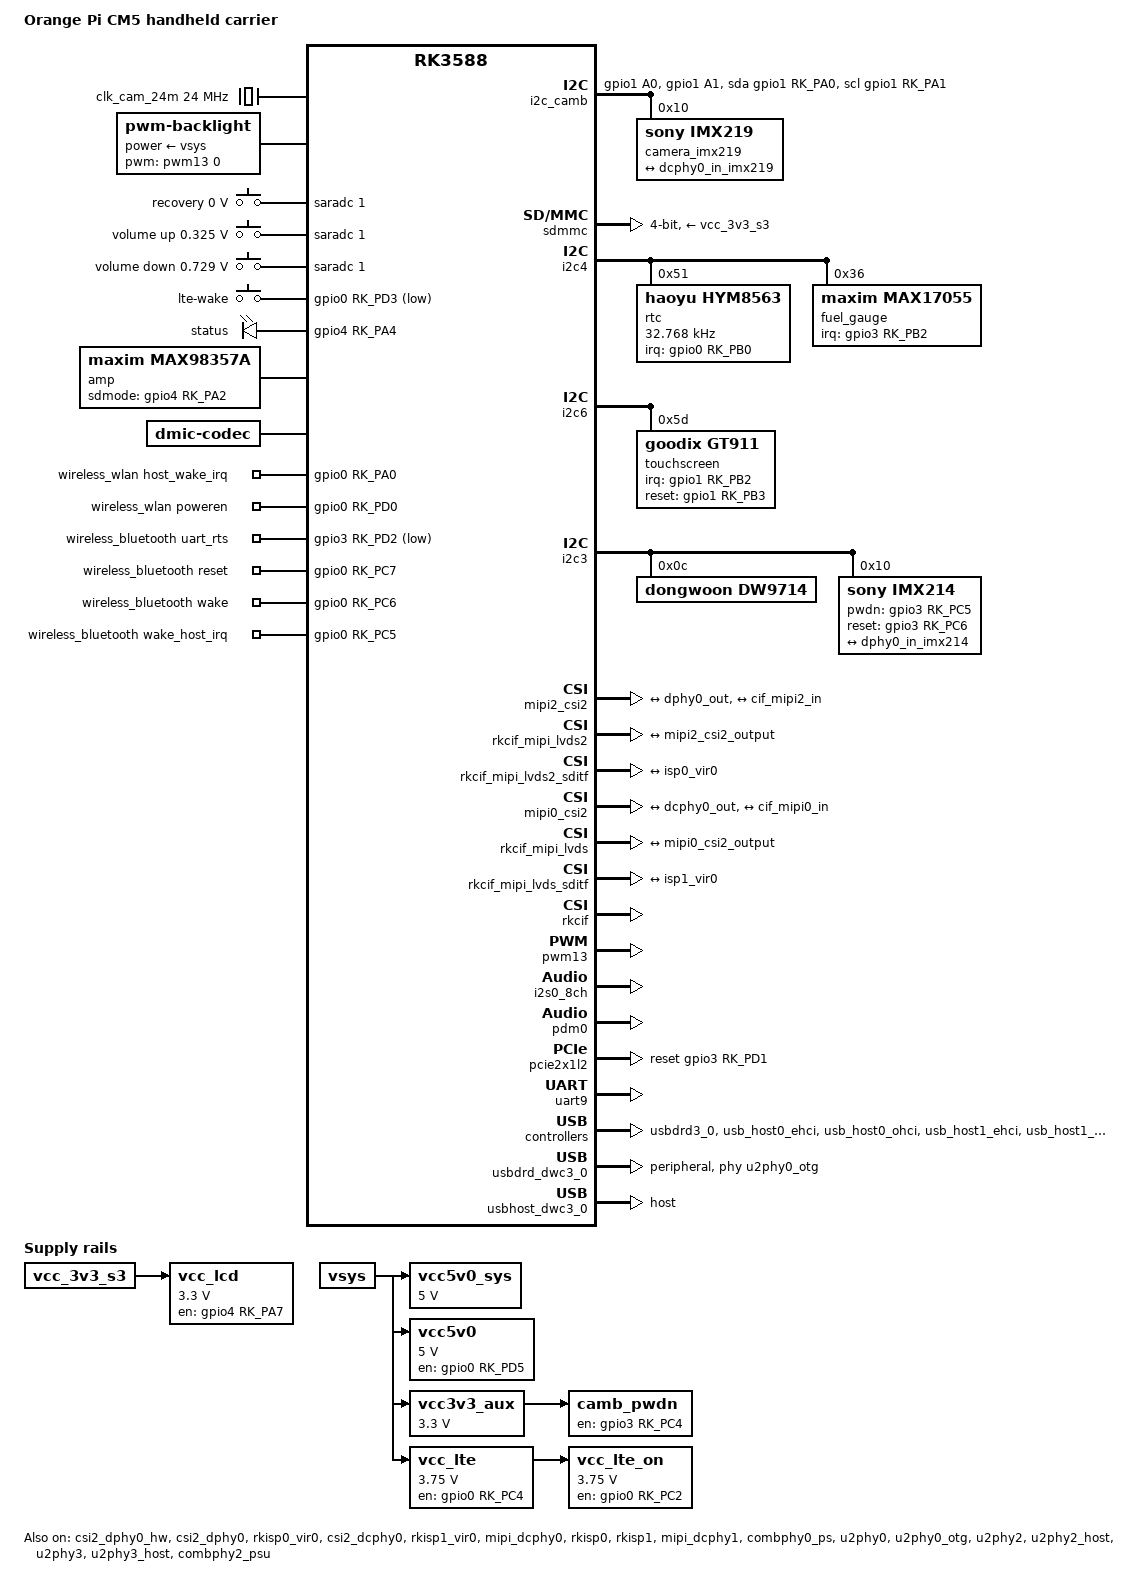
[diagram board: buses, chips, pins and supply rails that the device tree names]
// SPDX-License-Identifier: (GPL-2.0+ OR MIT)
/*
 * Orange Pi CM5 on the CM5 handheld carrier (Board A), for Orange Pi's Linux 6.1 kernel
 * (orangepi-xunlong/linux-orangepi, branch orange-pi-6.1-rk35xx).
 *
 * Pins: docs/opi/opi_cm5_pin_map.csv. Templates: Orange Pi's rk3588s-orangepi-cm5(-tablet).dts and
 * rk3588s-orangepi-5.dtsi (AP6275P on pcie2x1l2 with the same GPIOs), Radxa's camera overlays for the
 * Camera 13M 214 and 8M 219, Rockchip's rk3588-evb.dtsi (DSI panel node). Items marked UNVERIFIED and the
 * kernel options this board needs: software/README.md.
 */

/dts-v1/;

#include <dt-bindings/gpio/gpio.h>
#include <dt-bindings/pwm/pwm.h>
#include <dt-bindings/pinctrl/rockchip.h>
#include <dt-bindings/input/rk-input.h>
#include <dt-bindings/display/drm_mipi_dsi.h>
#include <dt-bindings/display/rockchip_vop.h>
#include <dt-bindings/clock/rk3588-cru.h>
#include <dt-bindings/power/rk3588-power.h>

#include "rk3588s.dtsi"
#include "rk3588-rk806-single.dtsi"
#include "rk3588-linux.dtsi"
#include "rk3588s-orangepi-cm5-module.dtsi"

/ {
	model = "Orange Pi CM5 handheld carrier";
	compatible = "rockchip,rk3588s-orangepi-cm5-handheld", "rockchip,rk3588";

	/* ---------------------------------------------------------------- supplies */

	/* battery / charger output (BQ25713 NVDC, 3.0-4.5 V) */
	vsys: vsys {
		compatible = "regulator-fixed";
		regulator-name = "vsys";
		regulator-always-on;
		regulator-boot-on;
	};

	/* CM5_VIN: TPS61088 boost, 5.03 V, always on while VSYS exists (module VBUS, JP1.77-87) */
	vcc5v0_sys: vcc5v0-sys {
		compatible = "regulator-fixed";
		regulator-name = "vcc5v0_sys";
		regulator-always-on;
		regulator-boot-on;
		regulator-min-microvolt = <5000000>;
		regulator-max-microvolt = <5000000>;
		vin-supply = <&vsys>;
	};

	/* VCC5V0: TPS61089 boost for USB-A, keyboard, CAM-A 5 V; EN_5V = GPIO0_D5 (also pulled up on the board) */
	vcc5v0: vcc5v0 {
		compatible = "regulator-fixed";
		regulator-name = "vcc5v0";
		regulator-always-on;
		regulator-boot-on;
		regulator-min-microvolt = <5000000>;
		regulator-max-microvolt = <5000000>;
		enable-active-high;
		gpio = <&gpio0 RK_PD5 GPIO_ACTIVE_HIGH>;
		pinctrl-names = "default";
		pinctrl-0 = <&en_5v>;
		vin-supply = <&vsys>;
	};

	/* VCC3V3_AUX: TPS63020, enabled by the module's VCC_3V3_S3 in hardware (Wi-Fi VBAT, USB hub, cameras) */
	vcc3v3_aux: vcc3v3-aux {
		compatible = "regulator-fixed";
		regulator-name = "vcc3v3_aux";
		regulator-always-on;
		regulator-boot-on;
		regulator-min-microvolt = <3300000>;
		regulator-max-microvolt = <3300000>;
		vin-supply = <&vsys>;
	};

	/*
	 * LTE modem: VCC_LTE (TPS63020, 3.75 V, EN = LTE_PWR_EN GPIO0_C4), then FULL_CARD_POWER_OFF# (GPIO0_C2,
	 * high = modem on) once VCC_LTE is up. Turning "vcc_lte_on" off powers the modem down in that order.
	 */
	vcc_lte: vcc-lte {
		compatible = "regulator-fixed";
		regulator-name = "vcc_lte";
		regulator-min-microvolt = <3750000>;
		regulator-max-microvolt = <3750000>;
		enable-active-high;
		gpio = <&gpio0 RK_PC4 GPIO_ACTIVE_HIGH>;
		startup-delay-us = <50000>;
		pinctrl-names = "default";
		pinctrl-0 = <&lte_pwr_en>;
		vin-supply = <&vsys>;
	};

	vcc_lte_on: vcc-lte-on {
		compatible = "regulator-fixed";
		regulator-name = "vcc_lte_on";
		regulator-always-on;
		regulator-boot-on;
		regulator-min-microvolt = <3750000>;
		regulator-max-microvolt = <3750000>;
		enable-active-high;
		gpio = <&gpio0 RK_PC2 GPIO_ACTIVE_HIGH>;
		pinctrl-names = "default";
		pinctrl-0 = <&lte_fcpo>;
		vin-supply = <&vcc_lte>;
	};

	/* panel VCI 3.3 V: TPS22919 load switch, ON = LCD_PWREN GPIO4_A7 */
	vcc_lcd: vcc-lcd {
		compatible = "regulator-fixed";
		regulator-name = "vcc_lcd";
		regulator-min-microvolt = <3300000>;
		regulator-max-microvolt = <3300000>;
		enable-active-high;
		gpio = <&gpio4 RK_PA7 GPIO_ACTIVE_HIGH>;
		pinctrl-names = "default";
		pinctrl-0 = <&lcd_pwren>;
		vin-supply = <&vcc_3v3_s3>;
	};

	/* CAM-B (Radxa Camera 8M 219) enable on its CAM_IO0 line (GPIO3_C4), held high as Radxa's overlay does */
	camb_pwdn: camb-pwdn {
		compatible = "regulator-fixed";
		regulator-name = "camb_pwdn";
		regulator-always-on;
		regulator-boot-on;
		enable-active-high;
		gpio = <&gpio3 RK_PC4 GPIO_ACTIVE_HIGH>;
		pinctrl-names = "default";
		pinctrl-0 = <&camb_io0>;
		vin-supply = <&vcc3v3_aux>;
	};

	/* the 8M 219 module runs from its own 24 MHz oscillator (Radxa overlay radxa-cm5-io-radxa-camera-8m) */
	clk_cam_24m: external-camera-clock-24m {
		compatible = "fixed-clock";
		clock-frequency = <24000000>;
		clock-output-names = "clk_cam_24m";
		#clock-cells = <0>;
	};

	/* ---------------------------------------------------------------- user interface */

	/* panel backlight: TPS61169 CTRL on PWM13_M1 (GPIO4_B6), 25 kHz (TPS61169: 5-100 kHz) */
	backlight: backlight {
		compatible = "pwm-backlight";
		pwms = <&pwm13 0 40000 0>;
		power-supply = <&vsys>;
		brightness-levels = <0 255>;
		num-interpolated-steps = <255>;
		default-brightness-level = <180>;
	};

	/* SARADC_IN1 (JP1.68), 10k pull-up to 1.8 V on the module: Recovery 0 V, Vol+ 0.32 V (2.2k), Vol- 0.73 V (6.8k) */
	adc_keys: adc-keys {
		compatible = "adc-keys";
		io-channels = <&saradc 1>;
		io-channel-names = "buttons";
		keyup-threshold-microvolt = <1800000>;
		poll-interval = <100>;

		recovery-key {
			label = "recovery";
			linux,code = <KEY_PROG1>;
			press-threshold-microvolt = <0>;
		};

		vol-up-key {
			label = "volume up";
			linux,code = <KEY_VOLUMEUP>;
			press-threshold-microvolt = <325000>;
		};

		vol-down-key {
			label = "volume down";
			linux,code = <KEY_VOLUMEDOWN>;
			press-threshold-microvolt = <729000>;
		};
	};

	/* LTE modem WAKE_ON_WAN# (open drain, 10k to 1.8 V) on GPIO0_D3: wakes the system on SMS / call */
	gpio_keys: gpio-keys {
		compatible = "gpio-keys";
		pinctrl-names = "default";
		pinctrl-0 = <&lte_wake>;

		lte-wake {
			label = "lte-wake";
			gpios = <&gpio0 RK_PD3 GPIO_ACTIVE_LOW>;
			linux,code = <KEY_WAKEUP>;
			debounce-interval = <10>;
			wakeup-source;
		};
	};

	leds: gpio-leds {
		compatible = "gpio-leds";
		pinctrl-names = "default";
		pinctrl-0 = <&led_status>;

		status-led {
			label = "status";
			gpios = <&gpio4 RK_PA4 GPIO_ACTIVE_HIGH>;
			linux,default-trigger = "heartbeat";
		};
	};

	/* ---------------------------------------------------------------- audio */

	/* 2 x MAX98357A on I2S0: one stream, the left amplifier takes the left channel and the right one the right
	 * (resistors on SD_MODE); one GPIO (AMP_SD_MODE, GPIO4_A2) shuts both down */
	amp: max98357a {
		compatible = "maxim,max98357a";
		#sound-dai-cells = <0>;
		sdmode-gpios = <&gpio4 RK_PA2 GPIO_ACTIVE_HIGH>;
		pinctrl-names = "default";
		pinctrl-0 = <&amp_sd_mode>;
	};

	speaker_sound: speaker-sound {
		compatible = "simple-audio-card";
		simple-audio-card,name = "speakers";
		simple-audio-card,format = "i2s";
		simple-audio-card,mclk-fs = <256>;

		simple-audio-card,cpu {
			sound-dai = <&i2s0_8ch>;
		};

		simple-audio-card,codec {
			sound-dai = <&amp>;
		};
	};

	/* Knowles SPH0641LU4H-1 PDM microphone on PDM0_M0 (CLK0 GPIO1_C6, SDI0 GPIO1_D5), SEL low */
	dmic: dmic {
		compatible = "dmic-codec";
		#sound-dai-cells = <0>;
		num-channels = <1>;
	};

	mic_sound: mic-sound {
		compatible = "simple-audio-card";
		simple-audio-card,name = "microphone";
		simple-audio-card,format = "pdm";
		simple-audio-card,mclk-fs = <256>;

		simple-audio-card,cpu {
			sound-dai = <&pdm0>;
		};

		simple-audio-card,codec {
			sound-dai = <&dmic>;
		};
	};

	/* ---------------------------------------------------------------- Wi-Fi / Bluetooth (AMPAK AP6275P) */

	/* as Orange Pi 5 (rk3588s-orangepi-5.dtsi) and the CM5 tablet: same GPIOs, UART9_M2, pcie2x1l2 */
	wireless_wlan: wireless-wlan {
		compatible = "wlan-platdata";
		wifi_chip_type = "ap6275p";
		pinctrl-names = "default";
		pinctrl-0 = <&wifi_host_wake_irq>, <&wifi_poweren_gpio>;
		WIFI,host_wake_irq = <&gpio0 RK_PA0 GPIO_ACTIVE_HIGH>;
		WIFI,poweren_gpio = <&gpio0 RK_PD0 GPIO_ACTIVE_HIGH>;
		status = "okay";
	};

	wireless_bluetooth: wireless-bluetooth {
		compatible = "bluetooth-platdata";
		clocks = <&rtc>;
		clock-names = "ext_clock";
		uart_rts_gpios = <&gpio3 RK_PD2 GPIO_ACTIVE_LOW>;
		pinctrl-names = "default", "rts_gpio";
		pinctrl-0 = <&uart9m2_rtsn>, <&bt_reset_gpio>, <&bt_wake_gpio>, <&bt_irq_gpio>;
		pinctrl-1 = <&uart9_gpios>;
		BT,reset_gpio    = <&gpio0 RK_PC7 GPIO_ACTIVE_HIGH>;
		BT,wake_gpio     = <&gpio0 RK_PC6 GPIO_ACTIVE_HIGH>;
		BT,wake_host_irq = <&gpio0 RK_PC5 GPIO_ACTIVE_HIGH>;
		status = "okay";
	};

	/* ---------------------------------------------------------------- CAM-B I2C */

	/*
	 * CAM-B's I2C runs on GPIO1_A0 (SDA, JP2.2) / GPIO1_A1 (SCL, JP2.4): their only I2C function is I2C2_M4,
	 * and I2C2 serves the module's NPU regulator (i2c2m0, below), so this bus is bit-banged. 2.2k pull-ups
	 * to 3.3 V on the board.
	 */
	i2c_camb: i2c-camb {
		compatible = "i2c-gpio";
		sda-gpios = <&gpio1 RK_PA0 (GPIO_ACTIVE_HIGH | GPIO_OPEN_DRAIN)>;
		scl-gpios = <&gpio1 RK_PA1 (GPIO_ACTIVE_HIGH | GPIO_OPEN_DRAIN)>;
		i2c-gpio,delay-us = <5>;	/* ~100 kHz */
		pinctrl-names = "default";
		pinctrl-0 = <&i2c_camb_pins>;
		#address-cells = <1>;
		#size-cells = <0>;

		camera_imx219: camera-imx219@10 {
			compatible = "sony,imx219";
			reg = <0x10>;
			clocks = <&clk_cam_24m>;
			clock-names = "xvclk";
			rockchip,camera-module-index = <1>;
			rockchip,camera-module-facing = "front";
			rockchip,camera-module-name = "RADXA-CAMERA-8M";
			rockchip,camera-module-lens-name = "default";

			port {
				imx219_out: endpoint {
					remote-endpoint = <&dcphy0_in_imx219>;
					data-lanes = <1 2>;
				};
			};
		};
	};
};

/* ------------------------------------------------------------------------------------------------------------ */
/* PMIC sleep pins: GPIO0_C2 (pmic_sleep4) is the modem's FULL_CARD_POWER_OFF# on this board, as Orange Pi frees  */
/* it on the CM5 tablet                                                                                         */

&pmic_pins {
	rockchip,pins =
		/* pmic_int_l */
		<0 RK_PA7 0 &pcfg_pull_up>,
		/* pmic_sleep1 */
		<0 RK_PA2 1 &pcfg_pull_down>,
		/* pmic_sleep2 */
		<0 RK_PA3 1 &pcfg_pull_none>,
		/* pmic_sleep3 */
		<0 RK_PC1 1 &pcfg_pull_none>,
		/* pmic_sleep5 */
		<0 RK_PC3 1 &pcfg_pull_none>,
		/* pmic_sleep6 */
		<0 RK_PD6 1 &pcfg_pull_none>;
};

/* ------------------------------------------------------------------------------------------------------------ */
/* microSD (SDMMC, JP1.57-69), detect on GPIO0_A4 (SDMMC_DET); VDD from VCC_3V3_S3 through the 0 ohm link        */

&sdmmc {
	max-frequency = <150000000>;
	no-sdio;
	no-mmc;
	bus-width = <4>;
	cap-mmc-highspeed;
	cap-sd-highspeed;
	disable-wp;
	sd-uhs-sdr104;
	vmmc-supply = <&vcc_3v3_s3>;
	vqmmc-supply = <&vccio_sd_s0>;
	status = "okay";
};

/* ------------------------------------------------------------------------------------------------------------ */
/* System I2C: I2C4_M3 (GPIO1_A2 SDA / A3 SCL, 3.3 V)                                                            */

&i2c4 {
	status = "okay";
	pinctrl-names = "default";
	pinctrl-0 = <&i2c4m3_xfer>;

	/*
	 * BM8563 RTC: a PCF8563 clone like the HYM8563 (same register map), run with Orange Pi's HYM8563 driver;
	 * CLKOUT (32.768 kHz) is the Wi-Fi / BT sleep clock and also reaches the SoC's CLK32K_IN (JP3.96)
	 */
	rtc: rtc@51 {
		compatible = "haoyu,hym8563";
		reg = <0x51>;
		#clock-cells = <0>;
		clock-frequency = <32768>;
		clock-output-names = "hym8563";
		pinctrl-names = "default";
		pinctrl-0 = <&rtc_int>;
		interrupt-parent = <&gpio0>;
		interrupts = <RK_PB0 IRQ_TYPE_LEVEL_LOW>;
		wakeup-source;
	};

	/* MAX17055 fuel gauge, 4 mOhm sense resistor (R126); I2C address UNVERIFIED (0x36: Linux binding example) */
	fuel_gauge: fuel-gauge@36 {
		compatible = "maxim,max17055";
		reg = <0x36>;
		maxim,rsns-microohm = <4000>;
		pinctrl-names = "default";
		pinctrl-0 = <&fg_alrt>;
		interrupt-parent = <&gpio3>;
		interrupts = <RK_PB2 IRQ_TYPE_LEVEL_LOW>;
	};

	/* TPS25751 USB-C PD controller at 0x20: no driver for it in this kernel; it runs from its EEPROM */
};

/* ------------------------------------------------------------------------------------------------------------ */
/* Touch (GT911 on the panel tail) and keyboard (RP2040, i2c_puppet 0x1F): I2C6_M3 (GPIO4_B0 SDA / B1 SCL, 3.3 V) */

&i2c6 {
	status = "okay";
	pinctrl-names = "default";
	pinctrl-0 = <&i2c6m3_xfer>;

	touchscreen: touchscreen@5d {
		compatible = "goodix,gt911";
		reg = <0x5d>;
		interrupt-parent = <&gpio1>;
		interrupts = <RK_PB2 IRQ_TYPE_EDGE_FALLING>;
		irq-gpios = <&gpio1 RK_PB2 GPIO_ACTIVE_HIGH>;
		reset-gpios = <&gpio1 RK_PB3 GPIO_ACTIVE_HIGH>;
		pinctrl-names = "default";
		pinctrl-0 = <&tp_pins>;
		touchscreen-size-x = <720>;
		touchscreen-size-y = <720>;
	};

	/* the keyboard also enumerates as a USB HID keyboard on hub port 3; its I2C interface needs an out-of-tree
	 * driver (i2c_puppet / bbq10kbd) and is not described here */
};

/* ------------------------------------------------------------------------------------------------------------ */
/* CAM-A (rear, Radxa Camera 13M 214, 4 lanes) on MIPI_CSI0 = csi2_dphy0 in full mode; I2C3_M1 (GPIO3_B7 SCL /    */
/* C0 SDA, 1.8 V), MCLK = MIPI_CAMERA1_CLK_M1 (GPIO3_A6), PDN GPIO3_C5, RESET GPIO3_C6                            */

&i2c3 {
	status = "okay";
	pinctrl-names = "default";
	pinctrl-0 = <&i2c3m1_xfer>;

	dw9714: dw9714@c {
		compatible = "dongwoon,dw9714";
		reg = <0x0c>;
		rockchip,vcm-start-current = <10>;
		rockchip,vcm-rated-current = <85>;
		rockchip,vcm-step-mode = <3>;
		rockchip,camera-module-index = <0>;
		rockchip,camera-module-facing = "back";
	};

	imx214: imx214@10 {
		compatible = "sony,imx214";
		reg = <0x10>;
		clocks = <&cru CLK_MIPI_CAMARAOUT_M1>;
		clock-names = "xvclk";
		pinctrl-names = "default";
		pinctrl-0 = <&mipim1_camera1_clk>, <&cama_pins>;
		power-domains = <&power RK3588_PD_VI>;
		pwdn-gpios = <&gpio3 RK_PC5 GPIO_ACTIVE_HIGH>;
		reset-gpios = <&gpio3 RK_PC6 GPIO_ACTIVE_HIGH>;
		rockchip,camera-module-index = <0>;
		rockchip,camera-module-facing = "back";
		rockchip,camera-module-name = "RADXA-CAMERA-13M";
		rockchip,camera-module-lens-name = "DEFAULT";
		lens-focus = <&dw9714>;

		port {
			imx214_out: endpoint {
				remote-endpoint = <&dphy0_in_imx214>;
				data-lanes = <1 2 3 4>;
			};
		};
	};
};

&csi2_dphy0_hw {
	status = "okay";
};

&csi2_dphy0 {
	status = "okay";

	ports {
		#address-cells = <1>;
		#size-cells = <0>;

		port@0 {
			reg = <0>;
			#address-cells = <1>;
			#size-cells = <0>;

			dphy0_in_imx214: endpoint@1 {
				reg = <1>;
				remote-endpoint = <&imx214_out>;
				data-lanes = <1 2 3 4>;
			};
		};

		port@1 {
			reg = <1>;
			#address-cells = <1>;
			#size-cells = <0>;

			dphy0_out: endpoint@0 {
				reg = <0>;
				remote-endpoint = <&mipi2_csi2_input>;
			};
		};
	};
};

&mipi2_csi2 {
	status = "okay";

	ports {
		#address-cells = <1>;
		#size-cells = <0>;

		port@0 {
			reg = <0>;
			#address-cells = <1>;
			#size-cells = <0>;

			mipi2_csi2_input: endpoint@1 {
				reg = <1>;
				remote-endpoint = <&dphy0_out>;
			};
		};

		port@1 {
			reg = <1>;
			#address-cells = <1>;
			#size-cells = <0>;

			mipi2_csi2_output: endpoint@0 {
				reg = <0>;
				remote-endpoint = <&cif_mipi2_in>;
			};
		};
	};
};

&rkcif_mipi_lvds2 {
	status = "okay";

	port {
		cif_mipi2_in: endpoint {
			remote-endpoint = <&mipi2_csi2_output>;
		};
	};
};

&rkcif_mipi_lvds2_sditf {
	status = "okay";

	port {
		mipi_lvds2_sditf: endpoint {
			remote-endpoint = <&isp0_vir0>;
		};
	};
};

&rkisp0_vir0 {
	status = "okay";

	port {
		#address-cells = <1>;
		#size-cells = <0>;

		isp0_vir0: endpoint@0 {
			reg = <0>;
			remote-endpoint = <&mipi_lvds2_sditf>;
		};
	};
};

/* ------------------------------------------------------------------------------------------------------------ */
/* CAM-B (front, Radxa Camera 8M 219, 2 lanes) on MIPI_DPHY0_RX = csi2_dcphy0 (D-PHY mode); I2C on i2c_camb above  */

&csi2_dcphy0 {
	status = "okay";

	ports {
		#address-cells = <1>;
		#size-cells = <0>;

		port@0 {
			reg = <0>;
			#address-cells = <1>;
			#size-cells = <0>;

			dcphy0_in_imx219: endpoint@1 {
				reg = <1>;
				remote-endpoint = <&imx219_out>;
				data-lanes = <1 2>;
			};
		};

		port@1 {
			reg = <1>;
			#address-cells = <1>;
			#size-cells = <0>;

			dcphy0_out: endpoint@0 {
				reg = <0>;
				remote-endpoint = <&mipi0_csi2_input>;
			};
		};
	};
};

&mipi0_csi2 {
	status = "okay";

	ports {
		#address-cells = <1>;
		#size-cells = <0>;

		port@0 {
			reg = <0>;
			#address-cells = <1>;
			#size-cells = <0>;

			mipi0_csi2_input: endpoint@1 {
				reg = <1>;
				remote-endpoint = <&dcphy0_out>;
			};
		};

		port@1 {
			reg = <1>;
			#address-cells = <1>;
			#size-cells = <0>;

			mipi0_csi2_output: endpoint@0 {
				reg = <0>;
				remote-endpoint = <&cif_mipi0_in>;
			};
		};
	};
};

&rkcif_mipi_lvds {
	status = "okay";

	port {
		cif_mipi0_in: endpoint {
			remote-endpoint = <&mipi0_csi2_output>;
		};
	};
};

&rkcif_mipi_lvds_sditf {
	status = "okay";

	port {
		mipi_lvds_sditf: endpoint {
			remote-endpoint = <&isp1_vir0>;
		};
	};
};

&rkisp1_vir0 {
	status = "okay";

	port {
		#address-cells = <1>;
		#size-cells = <0>;

		isp1_vir0: endpoint@0 {
			reg = <0>;
			remote-endpoint = <&mipi_lvds_sditf>;
		};
	};
};

&mipi_dcphy0 {
	status = "okay";
};

&rkcif {
	status = "okay";
};

&rkcif_mmu {
	status = "okay";
};

&rkisp0 {
	status = "okay";
};

&isp0_mmu {
	status = "okay";
};

&rkisp1 {
	status = "okay";
};

&isp1_mmu {
	status = "okay";
};

/* ------------------------------------------------------------------------------------------------------------ */
/* Display: DisplayModule DMKDI0400S0CA (720 x 720, ST7703) on DSI1, 4 lanes (JP2.75-96), RESET GPIO3_A4, VCI     */
/* GPIO4_A7. DISABLED: the panel's video timings and its ST7703 initialisation sequence are not in DisplayModule's */
/* documents (UNVERIFIED, REVIEW.md); fill them in from DisplayModule's code and set the four nodes to "okay".     */

&dsi1 {
	status = "disabled";

	dsi1_panel: panel@0 {
		compatible = "simple-panel-dsi";
		reg = <0>;
		backlight = <&backlight>;
		power-supply = <&vcc_lcd>;
		reset-gpios = <&gpio3 RK_PA4 GPIO_ACTIVE_LOW>;
		pinctrl-names = "default";
		pinctrl-0 = <&lcd_rst>;
		/* delays and flags as Rockchip's rk3588-evb.dtsi; check against DisplayModule's sequence */
		reset-delay-ms = <10>;
		enable-delay-ms = <10>;
		prepare-delay-ms = <10>;
		unprepare-delay-ms = <10>;
		disable-delay-ms = <60>;
		dsi,flags = <(MIPI_DSI_MODE_VIDEO | MIPI_DSI_MODE_VIDEO_BURST |
			MIPI_DSI_MODE_LPM | MIPI_DSI_MODE_NO_EOT_PACKET)>;
		dsi,format = <MIPI_DSI_FMT_RGB888>;
		dsi,lanes = <4>;
		status = "disabled";

		/* UNVERIFIED: ST7703 init commands from DisplayModule go here */
		panel-init-sequence = [
			05 78 01 11
			05 14 01 29
		];

		panel-exit-sequence = [
			05 00 01 28
			05 00 01 10
		];

		disp_timings: display-timings {
			native-mode = <&dsi1_timing0>;

			/* UNVERIFIED: only the active area (720 x 720) is published; clock and porches from DisplayModule */
			dsi1_timing0: timing0 {
				clock-frequency = <0>;
				hactive = <720>;
				vactive = <720>;
				hfront-porch = <0>;
				hsync-len = <0>;
				hback-porch = <0>;
				vfront-porch = <0>;
				vsync-len = <0>;
				vback-porch = <0>;
				hsync-active = <0>;
				vsync-active = <0>;
				de-active = <0>;
				pixelclk-active = <0>;
			};
		};

		ports {
			#address-cells = <1>;
			#size-cells = <0>;

			port@0 {
				reg = <0>;

				panel_in_dsi1: endpoint {
					remote-endpoint = <&dsi1_out_panel>;
				};
			};
		};
	};

	ports {
		#address-cells = <1>;
		#size-cells = <0>;

		port@1 {
			reg = <1>;

			dsi1_out_panel: endpoint {
				remote-endpoint = <&panel_in_dsi1>;
			};
		};
	};
};

&dsi1_in_vp3 {
	status = "disabled";
};

&route_dsi1 {
	status = "disabled";
	connect = <&vp3_out_dsi1>;
};

&mipi_dcphy1 {
	status = "okay";
};

&pwm13 {
	status = "okay";
	pinctrl-names = "active";
	pinctrl-0 = <&pwm13m1_pins>;
};

/* ------------------------------------------------------------------------------------------------------------ */
/* Audio interfaces                                                                                             */

/* I2S0: SCLK GPIO1_C3 (JP3.71), LRCK GPIO1_C5 (JP3.69), SDO0 GPIO1_C7 (JP3.70); MCLK and SDI0 not connected */
&i2s0_8ch {
	status = "okay";
	pinctrl-0 = <&i2s0_lrck &i2s0_sclk &i2s0_sdo0>;
	pinctrl-2 = <&i2s0_lrck &i2s0_sclk>;
};

&pdm0 {
	status = "okay";
	pinctrl-0 = <&pdm0m0_clk &pdm0m0_sdi0>;
	pinctrl-2 = <&pdm0m0_clk>;
};

/* ------------------------------------------------------------------------------------------------------------ */
/* Wi-Fi PCIe: combo PHY0 (PCIE20_0, JP3.76-90) on pcie2x1l2; PERST# GPIO3_D1; CLKREQ# / WAKE# (GPIO3_C7 / D0)  */
/* have 10k pull-ups to 1.8 V on the board and stay GPIOs                                                       */

&combphy0_ps {
	status = "okay";
};

&pcie2x1l2 {
	reset-gpios = <&gpio3 RK_PD1 GPIO_ACTIVE_HIGH>;
	rockchip,skip-scan-in-resume;
	status = "okay";
};

/* Bluetooth: UART9_M2 (TX GPIO3_D5, RX D4, RTS D2, CTS D3, 1.8 V) */
&uart9 {
	status = "okay";
	pinctrl-names = "default";
	pinctrl-0 = <&uart9m2_xfer &uart9m2_ctsn>;
};

/* ------------------------------------------------------------------------------------------------------------ */
/* USB                                                                                                          */

/* USB-C data: OTG0, USB 2.0 only (the Type-C SuperSpeed pins are not connected); peripheral (Maskrom / gadget) */
&u2phy0 {
	status = "okay";
};

&u2phy0_otg {
	status = "okay";
};

&usbdrd3_0 {
	status = "okay";
};

&usbdrd_dwc3_0 {
	dr_mode = "peripheral";
	maximum-speed = "high-speed";
	phys = <&u2phy0_otg>;
	phy-names = "usb2-phy";
	status = "okay";
};

/* USB20_HOST0 (JP3.13/15) -> USB2514B hub: USB-A x2, keyboard, digitizer */
&u2phy2 {
	status = "okay";
};

&u2phy2_host {
	status = "okay";
};

&usb_host0_ehci {
	status = "okay";
};

&usb_host0_ohci {
	status = "okay";
};

/* USB20_HOST1 (JP3.1/3) -> LTE modem USB 2.0 */
&u2phy3 {
	status = "okay";
};

&u2phy3_host {
	status = "okay";
};

&usb_host1_ehci {
	status = "okay";
};

&usb_host1_ohci {
	status = "okay";
};

/* combo PHY2 in USB 3.0 mode (JP2.16-24) -> LTE modem USB 3.0 */
&combphy2_psu {
	status = "okay";
};

&usbhost3_0 {
	status = "okay";
};

&usbhost_dwc3_0 {
	dr_mode = "host";
	status = "okay";
};

/* ------------------------------------------------------------------------------------------------------------ */
/* Pins                                                                                                         */

&pinctrl {
	power {
		en_5v: en-5v {
			rockchip,pins = <0 RK_PD5 RK_FUNC_GPIO &pcfg_pull_up>;
		};
	};

	lte {
		lte_pwr_en: lte-pwr-en {
			rockchip,pins = <0 RK_PC4 RK_FUNC_GPIO &pcfg_pull_down>;
		};

		lte_fcpo: lte-fcpo {
			rockchip,pins = <0 RK_PC2 RK_FUNC_GPIO &pcfg_pull_down>;
		};

		lte_wake: lte-wake {
			rockchip,pins = <0 RK_PD3 RK_FUNC_GPIO &pcfg_pull_none>;
		};
	};

	lcd {
		lcd_pwren: lcd-pwren {
			rockchip,pins = <4 RK_PA7 RK_FUNC_GPIO &pcfg_pull_down>;
		};

		lcd_rst: lcd-rst {
			rockchip,pins = <3 RK_PA4 RK_FUNC_GPIO &pcfg_pull_none>;
		};
	};

	touch {
		tp_pins: tp-pins {
			rockchip,pins = <1 RK_PB2 RK_FUNC_GPIO &pcfg_pull_none>,
					<1 RK_PB3 RK_FUNC_GPIO &pcfg_pull_none>;
		};
	};

	camera {
		cama_pins: cama-pins {
			rockchip,pins = <3 RK_PC5 RK_FUNC_GPIO &pcfg_pull_none>,
					<3 RK_PC6 RK_FUNC_GPIO &pcfg_pull_none>;
		};

		camb_io0: camb-io0 {
			rockchip,pins = <3 RK_PC4 RK_FUNC_GPIO &pcfg_pull_up>;
		};

		i2c_camb_pins: i2c-camb-pins {
			rockchip,pins = <1 RK_PA0 RK_FUNC_GPIO &pcfg_pull_none>,
					<1 RK_PA1 RK_FUNC_GPIO &pcfg_pull_none>;
		};
	};

	audio {
		amp_sd_mode: amp-sd-mode {
			rockchip,pins = <4 RK_PA2 RK_FUNC_GPIO &pcfg_pull_down>;
		};
	};

	rtc {
		rtc_int: rtc-int {
			rockchip,pins = <0 RK_PB0 RK_FUNC_GPIO &pcfg_pull_none>;
		};
	};

	battery {
		fg_alrt: fg-alrt {
			rockchip,pins = <3 RK_PB2 RK_FUNC_GPIO &pcfg_pull_none>;
		};
	};

	leds {
		led_status: led-status {
			rockchip,pins = <4 RK_PA4 RK_FUNC_GPIO &pcfg_pull_none>;
		};
	};

	wireless-wlan {
		wifi_host_wake_irq: wifi-host-wake-irq {
			rockchip,pins = <0 RK_PA0 RK_FUNC_GPIO &pcfg_pull_down>;
		};

		wifi_poweren_gpio: wifi-poweren-gpio {
			rockchip,pins = <0 RK_PD0 RK_FUNC_GPIO &pcfg_pull_down>;
		};
	};

	wireless-bluetooth {
		uart9_gpios: uart9-gpios {
			rockchip,pins = <3 RK_PD2 RK_FUNC_GPIO &pcfg_pull_none>;
		};

		bt_reset_gpio: bt-reset-gpio {
			rockchip,pins = <0 RK_PC7 RK_FUNC_GPIO &pcfg_pull_none>;
		};

		bt_wake_gpio: bt-wake-gpio {
			rockchip,pins = <0 RK_PC6 RK_FUNC_GPIO &pcfg_pull_none>;
		};

		bt_irq_gpio: bt-irq-gpio {
			rockchip,pins = <0 RK_PC5 RK_FUNC_GPIO &pcfg_pull_down>;
		};
	};
};
